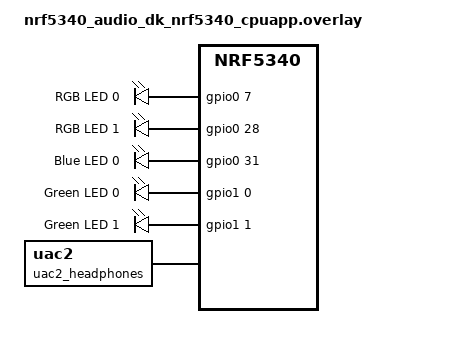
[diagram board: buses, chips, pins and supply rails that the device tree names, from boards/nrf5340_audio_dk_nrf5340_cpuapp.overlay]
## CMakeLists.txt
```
#
# Copyright (c) 2022 Nordic Semiconductor ASA
#
# SPDX-License-Identifier: LicenseRef-Nordic-5-Clause
#

cmake_minimum_required(VERSION 3.20.0)

# Flag which defines whether application is compiled as gateway/dongle or headset
add_compile_definitions(HEADSET=1)
add_compile_definitions(GATEWAY=2)

find_package(Zephyr REQUIRED HINTS $ENV{ZEPHYR_BASE})

# Test a configuration file option has been given
if(NOT DEFINED EXTRA_CONF_FILE)
  message(FATAL_ERROR "No configuration file specified, set -- -DEXTRA_CONF_FILE=<configuration file>")
endif()

project(nrf5340_audio)

string(TIMESTAMP NRF5340_AUDIO_CORE_APP_COMP_DATE "%a %b %d %H:%M:%S %Y")

# Generate fw_info_app.c
configure_file("${CMAKE_CURRENT_SOURCE_DIR}/src/utils/fw_info_app.c.in"
               "${CMAKE_BINARY_DIR}/fw_info_app.c"
               @ONLY)

# Target sources below are specific to the nRF5340 Audio DK HW
target_sources(app PRIVATE
  ${CMAKE_BINARY_DIR}/fw_info_app.c
)

if(CONFIG_BT_BAP_BROADCAST_SINK)
  add_subdirectory(broadcast_sink)
endif()

if(CONFIG_BT_BAP_BROADCAST_SOURCE)
  add_subdirectory(broadcast_source)
endif()

if(CONFIG_BT_BAP_UNICAST_CLIENT)
  add_subdirectory(unicast_client)
endif()

if(CONFIG_BT_BAP_UNICAST_SERVER)
  add_subdirectory(unicast_server)
endif()


# Include application events and configuration headers
zephyr_library_include_directories(
  include
  src/audio
  src/bluetooth
  src/drivers
  src/modules
  src/utils
  src/utils/macros
)

zephyr_library_include_directories(app PRIVATE ${ZEPHYR_NRF_MODULE_DIR}/boards/arm/nrf5340_audio_dk_nrf5340)

# Application sources
add_subdirectory(src/audio)
add_subdirectory(src/bluetooth)
add_subdirectory(src/drivers)
add_subdirectory(src/modules)
add_subdirectory(src/utils)

## Cirrus Logic
if(CONFIG_HW_CODEC_CIRRUS_LOGIC)
  if(ZEPHYR_CIRRUS_LOGIC_MODULE_DIR)
    add_subdirectory(${ZEPHYR_CIRRUS_LOGIC_MODULE_DIR} cirrus_logic_bin_dir)
  else()
    message(FATAL_ERROR "Cirrus Logic/sdk-mcu-drivers repository not found\n")
  endif()
endif()
```

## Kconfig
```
#
# Copyright (c) 2018 Nordic Semiconductor ASA
#
# SPDX-License-Identifier: LicenseRef-Nordic-5-Clause
#

menuconfig NRF5340_AUDIO
	 bool "nRF5340 Audio [EXPERIMENTAL]"
	 select EXPERIMENTAL

if NRF5340_AUDIO

config AUDIO_DEV
	int "Select which device type to compile for. 1=HEADSET or 2=GATEWAY"
	range 1 2
	default 1
	help
	  Setting this variable to 1 selects that the project is compiled
	  as a HEADSET (unicast server or broadcast sink) device.
	  Setting to 2 will compile as a GATEWAY (unicast client or broadcast source) device.

choice NRF5340_AUDIO_TRANSPORT_MODE
	prompt "Choose BIS or CIS for ISO transport"
	default TRANSPORT_CIS if WALKIE_TALKIE_DEMO
	default TRANSPORT_CIS

config TRANSPORT_BIS
	bool "BIS: Broadcast Isochronous Stream"

config TRANSPORT_CIS
	bool "CIS: Connected Isochronous Stream"

endchoice

#----------------------------------------------------------------------------#
rsource "Kconfig.defaults"
rsource "src/audio/Kconfig"
rsource "src/bluetooth/Kconfig"
rsource "src/drivers/Kconfig"
rsource "src/modules/Kconfig"
rsource "src/utils/Kconfig"

#----------------------------------------------------------------------------#
menu "Logging"

module = MAIN
module-str = main
source "subsys/logging/Kconfig.template.log_config"

config PRINT_STACK_USAGE_MS
	depends on THREAD_ANALYZER && INIT_STACKS
	int "Print stack usage every x milliseconds"
	default 5000

endmenu # Log levels

#----------------------------------------------------------------------------#
endif # NRF5340_AUDIO

source "Kconfig.zephyr"
```

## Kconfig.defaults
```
#
# Copyright (c) 2022 Nordic Semiconductor ASA
#
# SPDX-License-Identifier: LicenseRef-Nordic-5-Clause
#

config REBOOT
	default y

config MAIN_THREAD_PRIORITY
	default 10

config MAIN_STACK_SIZE
	default 2500 if SD_CARD_PLAYBACK
	default 2000

config SYSTEM_WORKQUEUE_STACK_SIZE
	default 2000

# As long as thread names are used, config must be set to "y"
config THREAD_NAME
	default y

# Workaround to not use fatal_error.c in NCS. Note that the system may still
# reset on error depending on the build configuraion
config RESET_ON_FATAL_ERROR
	default n

# Default Config for Debug and Release build
config BT
	default y

config ZBUS
	default y

config ZBUS_RUNTIME_OBSERVERS
	default y

config ZBUS_MSG_SUBSCRIBER
	default y

config SENSOR
	default y

config REGULATOR
	default y

config CONTIN_ARRAY
	default y

config NRFX_I2S
	default y

config PCM_MIX
	default y

config PSCM
	default y

# Enable NRFX_CLOCK for ACLK control
config NRFX_CLOCK
	default y

config I2C
	default y

# Audio codec LC3 related defines
# FPU_SHARING enables preservation of the hardware floating point registers
# across context switches to allow multiple threads to perform concurrent
# floating point operations.
config FPU
	default y

config FPU_SHARING
	default y

# Enable SDHC interface
config DISK_DRIVERS
	default y

config DISK_DRIVER_SDMMC
	default y

# Enable SPI interface
config SPI
	default y

# Enable ADC for board version readback
config ADC
	default y

# Allocate buffer on RAM for transferring chunck of data
# from Flash to SPI
config SPI_NRFX_RAM_BUFFER_SIZE
	default 8

# Config the file system
config FILE_SYSTEM
	default y

config FAT_FILESYSTEM_ELM
	default y

config FS_FATFS_LFN
	default y
choice FS_FATFS_LFN_MODE
	# Using stack for LFN work queue
	default FS_FATFS_LFN_MODE_STACK
endchoice

# exFAT enabled to support longer file names and higher transfer speed
config FS_FATFS_EXFAT
	default y
```

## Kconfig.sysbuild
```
#
# Copyright (c) 2024 Nordic Semiconductor
#
# SPDX-License-Identifier: LicenseRef-Nordic-5-Clause
#

config NRF_DEFAULT_IPC_RADIO
	default y

source "share/sysbuild/Kconfig"
```

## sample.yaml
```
sample:
  name: nRF5340 Audio application
  description: LE Audio and Auracast implementation example
tests:
  applications.nrf5340_audio.headset_unicast_release_unidir_usb:
    integration_platforms:
      - nrf5340_audio_dk/nrf5340/cpuapp
      - nrf5340dk/nrf5340/cpuapp
    platform_allow:
      - nrf5340_audio_dk/nrf5340/cpuapp
      - nrf5340dk/nrf5340/cpuapp
    sysbuild: true
    build_only: true
    tags:
      - ci_build
      - sysbuild
      - ci_applications_nrf5340_audio
    extra_args:
      - FILE_SUFFIX=release
      - EXTRA_CONF_FILE=unicast_server/overlay-unicast_server.conf
  applications.nrf5340_audio.gateway_unicast_release_bidir_usb:
    integration_platforms:
      - nrf5340_audio_dk/nrf5340/cpuapp
      - nrf5340dk/nrf5340/cpuapp
    platform_allow:
      - nrf5340_audio_dk/nrf5340/cpuapp
      - nrf5340dk/nrf5340/cpuapp
    sysbuild: true
    build_only: true
    tags:
      - ci_build
      - sysbuild
      - ci_applications_nrf5340_audio
    extra_args:
      - FILE_SUFFIX=release
      - CONFIG_STREAM_BIDIRECTIONAL=y
      - EXTRA_CONF_FILE=unicast_client/overlay-unicast_client.conf
  applications.nrf5340_audio.headset_broadcast_sink_release_usb:
    integration_platforms:
      - nrf5340_audio_dk/nrf5340/cpuapp
      - nrf5340dk/nrf5340/cpuapp
    platform_allow:
      - nrf5340_audio_dk/nrf5340/cpuapp
      - nrf5340dk/nrf5340/cpuapp
    sysbuild: true
    build_only: true
    tags:
      - ci_build
      - sysbuild
      - ci_applications_nrf5340_audio
    extra_args:
      - FILE_SUFFIX=release
      - EXTRA_CONF_FILE=broadcast_sink/overlay-broadcast_sink.conf
  applications.nrf5340_audio.gateway_broadcast_source_release_i2s:
    integration_platforms:
      - nrf5340_audio_dk/nrf5340/cpuapp
      - nrf5340dk/nrf5340/cpuapp
    platform_allow:
      - nrf5340_audio_dk/nrf5340/cpuapp
      - nrf5340dk/nrf5340/cpuapp
    sysbuild: true
    build_only: true
    tags:
      - ci_build
      - sysbuild
      - ci_applications_nrf5340_audio
    extra_args:
      - FILE_SUFFIX=release
      - CONFIG_AUDIO_SOURCE_I2S=y
      - EXTRA_CONF_FILE=broadcast_source/overlay-broadcast_source.conf
  applications.nrf5340_audio.headset_unicast_sd_card_release:
    integration_platforms:
      - nrf5340_audio_dk/nrf5340/cpuapp
    platform_allow:
      - nrf5340_audio_dk/nrf5340/cpuapp
    sysbuild: true
    build_only: true
    tags:
      - ci_build
      - sysbuild
      - ci_applications_nrf5340_audio
    extra_args:
      - FILE_SUFFIX=release
      - CONFIG_SD_CARD_PLAYBACK=y
      - EXTRA_CONF_FILE=unicast_server/overlay-unicast_server.conf
  applications.nrf5340_audio.headset_unicast_debug_bidir_usb:
    integration_platforms:
      - nrf5340_audio_dk/nrf5340/cpuapp
      - nrf5340dk/nrf5340/cpuapp
    platform_allow:
      - nrf5340_audio_dk/nrf5340/cpuapp
      - nrf5340dk/nrf5340/cpuapp
    sysbuild: true
    build_only: true
    tags:
      - ci_build
      - sysbuild
      - ci_applications_nrf5340_audio
    extra_args:
      - CONFIG_STREAM_BIDIRECTIONAL=y
      - EXTRA_CONF_FILE=unicast_server/overlay-unicast_server.conf
```

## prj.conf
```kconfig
#
# Copyright (c) 2022 Nordic Semiconductor ASA
#
# SPDX-License-Identifier: LicenseRef-Nordic-5-Clause
#

# nRF5340 Audio
CONFIG_NRF5340_AUDIO=y
CONFIG_SAMPLE_RATE_CONVERTER=y
CONFIG_SAMPLE_RATE_CONVERTER_FILTER_SIMPLE=y

# General
CONFIG_DEBUG=y
CONFIG_ASSERT=y
CONFIG_STACK_USAGE=y
CONFIG_THREAD_RUNTIME_STATS=y
CONFIG_STACK_SENTINEL=y
CONFIG_INIT_STACKS=y
CONFIG_BT=y
CONFIG_NET_BUF_POOL_USAGE=y
CONFIG_BT_RX_STACK_SIZE=2500
CONFIG_POLL=y

# Uart driver
CONFIG_SERIAL=y

# Logging
CONFIG_LOG=y
CONFIG_LOG_TAG_MAX_LEN=2
CONFIG_LOG_TAG_DEFAULT="--"
CONFIG_LOG_BACKEND_UART=y
CONFIG_LOG_BUFFER_SIZE=4096
CONFIG_LOG_RUNTIME_DEFAULT_LEVEL=4
CONFIG_BT_SECURITY_ERR_TO_STR=y

# Use this for debugging thread usage
#CONFIG_LOG_THREAD_ID_PREFIX=y

# Console related defines
CONFIG_CONSOLE=y
CONFIG_RTT_CONSOLE=y
CONFIG_UART_CONSOLE=y

# Shell related defines
CONFIG_SHELL=y
CONFIG_KERNEL_SHELL=y
CONFIG_USE_SEGGER_RTT=y
## Disable logs on RTT
CONFIG_SHELL_RTT_INIT_LOG_LEVEL_NONE=y
CONFIG_SHELL_BACKEND_RTT=y
CONFIG_SHELL_BACKEND_SERIAL=n
CONFIG_SHELL_VT100_COMMANDS=y
CONFIG_SHELL_VT100_COLORS=y
CONFIG_SHELL_STACK_SIZE=4096
CONFIG_SHELL_CMD_BUFF_SIZE=128
## Reduce shell memory usage
CONFIG_SHELL_WILDCARD=n
CONFIG_SHELL_HELP_ON_WRONG_ARGUMENT_COUNT=n
CONFIG_SHELL_STATS=n
CONFIG_SHELL_CMDS=n
CONFIG_SHELL_HISTORY=y

# Turn off default shell commands
CONFIG_I2C_SHELL=n
CONFIG_HWINFO_SHELL=n
CONFIG_CLOCK_CONTROL_NRF_SHELL=n
CONFIG_FLASH_SHELL=n
CONFIG_DEVICE_SHELL=n

# Suppress LOG_ERR messages from sd_check_card_type. Because SPI_SDHC has no card presence method,
# assume card is in slot. Thus error message is always shown if card is not inserted
CONFIG_SD_LOG_LEVEL_OFF=y

# Suppress LOG_INF messages from hci_core
CONFIG_BT_HCI_CORE_LOG_LEVEL_WRN=y

# BT related configs
CONFIG_BT_ISO_TX_BUF_COUNT=3
CONFIG_BT_BUF_ACL_TX_COUNT=3
CONFIG_BT_ATT_TX_COUNT=12

# Suppress the USB deprecation warning
CONFIG_DEPRECATION_TEST=y

# Log high CPU load using printk
CONFIG_CPU_LOAD=y
# Disable LOG_PRINTK to ensure printk messages are displayed even under high CPU load,
# by preventing them from being processed by the logging subsystem.
CONFIG_LOG_PRINTK=n
CONFIG_CPU_LOAD_LOG_PERIODICALLY=5000
CONFIG_CPU_LOAD_LOG_LEVEL_WRN=y
CONFIG_SPEED_OPTIMIZATIONS=y

# Enable link-time-optimizations to improve performance and reduce size
CONFIG_LTO=y
CONFIG_ISR_TABLES_LOCAL_DECLARATION=y
```

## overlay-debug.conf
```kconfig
#
# Copyright (c) 2022 Nordic Semiconductor ASA
#
# SPDX-License-Identifier: LicenseRef-Nordic-5-Clause
#

# General
CONFIG_DEBUG=y
CONFIG_DEBUG_INFO=y
CONFIG_ASSERT=y
CONFIG_STACK_USAGE=y
CONFIG_THREAD_RUNTIME_STATS=y
CONFIG_STACK_SENTINEL=y
CONFIG_INIT_STACKS=y

# Uart driver
CONFIG_SERIAL=y

# Logging
CONFIG_LOG=y
CONFIG_LOG_MODE_DEFERRED=y
CONFIG_LOG_BACKEND_UART=y
CONFIG_LOG_BACKEND_RTT=n
CONFIG_LOG_DEFAULT_LEVEL=4
CONFIG_NEWLIB_LIBC_FLOAT_PRINTF=y
CONFIG_LOG_TAG_MAX_LEN=2
CONFIG_LOG_TAG_DEFAULT="--"

# Console related defines
CONFIG_CONSOLE=y
CONFIG_RTT_CONSOLE=y
CONFIG_UART_CONSOLE=y

# Shell related defines
CONFIG_SHELL=y
CONFIG_KERNEL_SHELL=y
CONFIG_USE_SEGGER_RTT=y
## Disable logs on RTT
CONFIG_SHELL_RTT_INIT_LOG_LEVEL_NONE=y
CONFIG_SHELL_BACKEND_RTT=y
CONFIG_SHELL_BACKEND_SERIAL=n
CONFIG_SHELL_VT100_COLORS=y
CONFIG_SHELL_STACK_SIZE=1024
CONFIG_SHELL_CMD_BUFF_SIZE=128
## Reduce shell memory usage
CONFIG_SHELL_WILDCARD=n
CONFIG_SHELL_HELP_ON_WRONG_ARGUMENT_COUNT=n
CONFIG_SHELL_STATS=n
CONFIG_SHELL_CMDS=n
CONFIG_SHELL_HISTORY=y

# Turn off default shell commands
CONFIG_I2C_SHELL=n
CONFIG_HWINFO_SHELL=n
CONFIG_CLOCK_CONTROL_NRF_SHELL=n
CONFIG_FLASH_SHELL=n
CONFIG_DEVICE_SHELL=n

# Enable BT debug
CONFIG_BT_DEBUG_LOG=y
CONFIG_BT_LOG_LEVEL_WRN=y
```

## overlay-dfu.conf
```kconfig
#
# Copyright (c) 2022 Nordic Semiconductor ASA
#
# SPDX-License-Identifier: LicenseRef-Nordic-5-Clause
#

CONFIG_BOOTLOADER_MCUBOOT=y
CONFIG_MCUBOOT_IMAGE_VERSION="0.0.0+0"
CONFIG_NCS_INCLUDE_RPMSG_CHILD_IMAGE=y

# Increase system workqueue stack size to prevent stack overflows while handling
# SMP requests
CONFIG_SYSTEM_WORKQUEUE_STACK_SIZE=4096

# DFU
CONFIG_MCUMGR=y
CONFIG_MCUMGR_CMD_OS_MGMT=y
CONFIG_MCUMGR_CMD_STAT_MGMT=y
CONFIG_MCUMGR_CMD_IMG_MGMT=y
CONFIG_MCUMGR_BUF_SIZE=1024
CONFIG_THREAD_NAME=y

# DFU over BLE
CONFIG_MCUMGR_SMP_BT=y
CONFIG_MCUMGR_SMP_BT_AUTHEN=n
CONFIG_BT_L2CAP_TX_MTU=498
CONFIG_BT_BUF_ACL_TX_SIZE=502
CONFIG_BT_BUF_ACL_RX_SIZE=502
CONFIG_MCUMGR_BUF_COUNT=6

# Required by the `taskstat` command
CONFIG_THREAD_MONITOR=y
CONFIG_STATS=y
CONFIG_STATS_NAMES=y

# Reduce footprint for internal flash debug build
CONFIG_SIZE_OPTIMIZATIONS=y
```

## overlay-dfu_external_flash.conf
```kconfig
#
# Copyright (c) 2022 Nordic Semiconductor ASA
#
# SPDX-License-Identifier: LicenseRef-Nordic-5-Clause
#

CONFIG_BOOTLOADER_MCUBOOT=y
CONFIG_MCUBOOT_IMAGE_VERSION="0.0.0+0"
CONFIG_NCS_INCLUDE_RPMSG_CHILD_IMAGE=y

# Increase system workqueue stack size to prevent stack overflows while handling
# SMP requests
CONFIG_SYSTEM_WORKQUEUE_STACK_SIZE=4096

# DFU
CONFIG_MCUMGR=y
CONFIG_MCUMGR_CMD_OS_MGMT=y
CONFIG_MCUMGR_CMD_STAT_MGMT=y
CONFIG_MCUMGR_CMD_IMG_MGMT=y
CONFIG_MCUMGR_BUF_SIZE=1024
# MCUMGR Debug option
CONFIG_MCUMGR_LOG_LEVEL_DBG=y
CONFIG_MCUBOOT_UTIL_LOG_LEVEL_DBG=y
CONFIG_THREAD_NAME=y

# DFU over BLE
CONFIG_MCUMGR_SMP_BT=y
CONFIG_MCUMGR_SMP_BT_AUTHEN=n
CONFIG_BT_L2CAP_TX_MTU=498
CONFIG_BT_BUF_ACL_TX_SIZE=502
CONFIG_BT_BUF_ACL_RX_SIZE=502
CONFIG_MCUMGR_BUF_COUNT=6

# Required by the `taskstat` command
CONFIG_THREAD_MONITOR=y
CONFIG_STATS=y
CONFIG_STATS_NAMES=y

# Multi-Images DFU
CONFIG_UPDATEABLE_IMAGE_NUMBER=2
CONFIG_IMG_MANAGER=y
CONFIG_MCUBOOT_IMG_MANAGER=y
CONFIG_IMG_ERASE_PROGRESSIVELY=y
CONFIG_PM_EXTERNAL_FLASH_MCUBOOT_SECONDARY=y

# External Flash
CONFIG_SPI_NOR=y
CONFIG_SPI_NOR_CS_WAIT_DELAY=5
CONFIG_SPI_NOR_SFDP_DEVICETREE=y

# Change default flash erase size for flexible flash layout
CONFIG_SPI_NOR_FLASH_LAYOUT_PAGE_SIZE=4096

# FLASH nop device is enabled to prevent bus faults when mcumgr tries to access
# simulated partition with network core image data
CONFIG_FLASH_NOP_DEVICE=y

# Enable custom SMP request to erase settings partition
CONFIG_MCUMGR_GRP_ZEPHYR_BASIC=y
CONFIG_MCUMGR_GRP_BASIC_CMD_STORAGE_ERASE=y
```

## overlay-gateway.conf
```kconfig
#
# Copyright (c) 2022 Nordic Semiconductor ASA
#
# SPDX-License-Identifier: LicenseRef-Nordic-5-Clause
#

# Set as gateway device
CONFIG_AUDIO_DEV=2

# USB
CONFIG_USB_DEVICE_STACK=y
# Avoid redundant warnings for endpoint setting in USB stack
CONFIG_USB_DRIVER_LOG_LEVEL_ERR=y
CONFIG_USB_DEVICE_LOG_LEVEL_ERR=y
# Net buf options needed for USB stack
CONFIG_NET_BUF=y
# Size of 1ms of stereo audio in bytes (48kHz, 16 bit)
CONFIG_NET_BUF_USER_DATA_SIZE=192
# USB audio related configs
CONFIG_USB_DEVICE_AUDIO=y
## TODO: Nordic VID, change accordingly
CONFIG_USB_DEVICE_VID=0x1915
## TODO: Change for final product
CONFIG_USB_DEVICE_PID=0x530A
CONFIG_USB_DEVICE_PRODUCT="nRF5340 USB Audio"
CONFIG_USB_DEVICE_MANUFACTURER="Nordic Semiconductor AS"

# LC3
CONFIG_LC3_ENC_CHAN_MAX=2
CONFIG_LC3_DEC_CHAN_MAX=1

# ***** CIS *****
CONFIG_BT_AUDIO_UNICAST_CLIENT=y
CONFIG_BT_MAX_CONN=1
CONFIG_BT_ISO_MAX_CHAN=1
CONFIG_BT_MAX_PAIRED=1

# ***** BIS *****
#CONFIG_TRANSPORT_BIS=y
#CONFIG_BT_AUDIO_BROADCAST_SOURCE=y
#CONFIG_BT_DEVICE_NAME="Broadcast Audio Source"
```

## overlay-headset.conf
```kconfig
#
# Copyright (c) 2022 Nordic Semiconductor ASA
#
# SPDX-License-Identifier: LicenseRef-Nordic-5-Clause
#

# Set as headset device
CONFIG_AUDIO_DEV=1

# LC3
CONFIG_LC3_ENC_CHAN_MAX=1
CONFIG_LC3_DEC_CHAN_MAX=1

# ***** CIS *****
CONFIG_BT_PERIPHERAL=y
CONFIG_BT_GAP_PERIPHERAL_PREF_PARAMS=n
CONFIG_BT_MAX_CONN=1
CONFIG_BT_ISO_MAX_CHAN=1
CONFIG_BT_AUDIO_UNICAST_SERVER=y
CONFIG_BT_ASCS_ASE_SNK_COUNT=1
CONFIG_BT_ASCS_ASE_SRC_COUNT=0

# ***** BIS *****
#CONFIG_TRANSPORT_BIS=y
#CONFIG_BT_AUDIO_BROADCAST_SINK=y
#CONFIG_BT_DEVICE_NAME="Broadcast Audio Sink"
```

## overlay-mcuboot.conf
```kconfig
#
# Copyright (c) 2022 Nordic Semiconductor ASA
#
# SPDX-License-Identifier: LicenseRef-Nordic-5-Clause
#

CONFIG_SIZE_OPTIMIZATIONS=y
CONFIG_MAIN_STACK_SIZE=20480
CONFIG_MBEDTLS_CFG_FILE="mcuboot-mbedtls-cfg.h"
CONFIG_PCD_APP=y
CONFIG_PARTITION_MANAGER_ENABLED=y
CONFIG_BOARD_ENABLE_CPUNET=n

# Enable serial debug for MCUBOOT
CONFIG_SERIAL=y
CONFIG_CBPRINTF_NANO=y
CONFIG_CONSOLE=y
CONFIG_UART_CONSOLE=y
CONFIG_LOG=y
CONFIG_UART_NRFX=y

# TODO:Those kconfig are not required by mcuboot in order to reduce footprint of mcuboot
# Should be moved from board file to prj.conf
CONFIG_NFCT_PINS_AS_GPIOS=n
CONFIG_I2S=n
CONFIG_NRFX_I2S=n
CONFIG_NRFX_CLOCK=n
CONFIG_I2C=n
CONFIG_NRFX_TWIM1=n
CONFIG_NEWLIB_LIBC=n
CONFIG_FPU=n
CONFIG_FPU_SHARING=n
CONFIG_DISK_DRIVERS=n
CONFIG_DISK_DRIVER_SDMMC=n
CONFIG_SPI=n
CONFIG_ADC=n
CONFIG_FILE_SYSTEM=n
CONFIG_FAT_FILESYSTEM_ELM=n
CONFIG_FS_FATFS_LFN=n
CONFIG_FS_FATFS_LFN_MODE_STACK=n
CONFIG_FS_FATFS_EXFAT=n
CONFIG_BT=n
CONFIG_HW_CODEC_CIRRUS_LOGIC=n
```

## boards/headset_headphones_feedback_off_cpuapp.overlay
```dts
/*
 * Copyright (c) 2026 Nordic Semiconductor ASA
 *
 * SPDX-License-Identifier: LicenseRef-Nordic-5-Clause
 */

#include <dt-bindings/usb/audio.h>

/ {
	uac2_headset: usb_audio2 {
		compatible = "zephyr,uac2";
		status = "okay";
		full-speed;
		audio-function = <AUDIO_FUNCTION_HEADSET>;

		uac_aclk: aclk {
			compatible = "zephyr,uac2-clock-source";
			clock-type = "internal-programmable";
			frequency-control = "read-only";
			sampling-frequencies = <48000>;
			sof-synchronized;
		};

		out_terminal: out_terminal {
			compatible = "zephyr,uac2-input-terminal";
			clock-source = <&uac_aclk>;
			terminal-type = <USB_TERMINAL_STREAMING>;
			front-left;
			front-right;
		};

		headphones_output: headphones {
			compatible = "zephyr,uac2-output-terminal";
			data-source = <&out_terminal>;
			clock-source = <&uac_aclk>;
			terminal-type = <BIDIRECTIONAL_TERMINAL_HEADSET>;
			assoc-terminal = <&mic_input>;
		};

		in_terminal: in_terminal {
			compatible = "zephyr,uac2-output-terminal";
			data-source = <&mic_input>;
			clock-source = <&uac_aclk>;
			terminal-type = <USB_TERMINAL_STREAMING>;
		};

		mic_input: microphone {
			compatible = "zephyr,uac2-input-terminal";
			clock-source = <&uac_aclk>;
			terminal-type = <BIDIRECTIONAL_TERMINAL_HEADSET>;
			front-left;
			front-right;
		};

		as_iso_out: out_interface {
			compatible = "zephyr,uac2-audio-streaming";
			linked-terminal = <&out_terminal>;
			subslot-size = <2>;
			bit-resolution = <16>;
		};

		as_iso_in: in_interface {
			compatible = "zephyr,uac2-audio-streaming";
			linked-terminal = <&in_terminal>;
			subslot-size = <2>;
			bit-resolution = <16>;
		};
	};
};

/ {
	uac2_headphones: usb_audio2 {
		compatible = "zephyr,uac2";
		status = "okay";
		full-speed;
		audio-function = <AUDIO_FUNCTION_OTHER>;

		hp_uac_aclk: hp_aclk {
			compatible = "zephyr,uac2-clock-source";
			clock-type = "internal-programmable";
			frequency-control = "read-only";
			sampling-frequencies = <48000>;
			sof-synchronized;
		};

		hp_out_terminal: out_terminal {
			compatible = "zephyr,uac2-input-terminal";
			clock-source = <&hp_uac_aclk>;
			terminal-type = <USB_TERMINAL_STREAMING>;
			front-left;
			front-right;
		};

		hp_headphones_output: hp_headphones_output {
			compatible = "zephyr,uac2-output-terminal";
			data-source = <&hp_out_terminal>;
			clock-source = <&hp_uac_aclk>;
			terminal-type = <OUTPUT_TERMINAL_HEADPHONES>;
		};

		hp_as_iso_out: out_interface {
			compatible = "zephyr,uac2-audio-streaming";
			linked-terminal = <&hp_out_terminal>;
			subslot-size = <2>;
			bit-resolution = <16>;
		};
	};
};
```

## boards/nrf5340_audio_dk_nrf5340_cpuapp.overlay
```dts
/*
 * Copyright (c) 2025 Nordic Semiconductor ASA
 *
 * SPDX-License-Identifier: LicenseRef-Nordic-5-Clause
 */

#include <dt-bindings/led/led.h>
#include <dt-bindings/usb/audio.h>

/ {
	audioleds: audioleds {
		compatible = "gpio-leds";
		status = "okay";

		led_device_type: led_device_type {
			gpios = <&gpio0 7 GPIO_ACTIVE_HIGH>,
				<&gpio0 25 GPIO_ACTIVE_HIGH>,
				<&gpio0 26 GPIO_ACTIVE_HIGH>;
			label = "RGB LED 0";
		};

		rgb2: rgb-2 {
			gpios = <&gpio0 28 GPIO_ACTIVE_HIGH>,
				<&gpio0 29 GPIO_ACTIVE_HIGH>,
				<&gpio0 30 GPIO_ACTIVE_HIGH>;
			label = "RGB LED 1";
		};

		led_conn_status: led_conn_status {
			gpios = <&gpio0 31 GPIO_ACTIVE_HIGH>;
			label = "Blue LED 0";
		};

		led_sync_status: led_sync_status {
			gpios = <&gpio1 0 GPIO_ACTIVE_HIGH>;
			label = "Green LED 0";
		};

		led_app_status: led_app_status {
			gpios = <&gpio1 1 GPIO_ACTIVE_HIGH>;
			label = "Green LED 1";
		};
	};
};

/ {
	uac2_headphones: usb_audio2 {
		compatible = "zephyr,uac2";
		status = "okay";
		full-speed;
		audio-function = <AUDIO_FUNCTION_OTHER>;

		hp_uac_aclk: hp_aclk {
			compatible = "zephyr,uac2-clock-source";
			clock-type = "internal-programmable";
			frequency-control = "read-only";
			sampling-frequencies = <48000>;
		};

		hp_out_terminal: out_terminal {
			compatible = "zephyr,uac2-input-terminal";
			clock-source = <&hp_uac_aclk>;
			terminal-type = <USB_TERMINAL_STREAMING>;
			front-left;
			front-right;
		};

		hp_headphones_output: hp_headphones_output {
			compatible = "zephyr,uac2-output-terminal";
			data-source = <&hp_out_terminal>;
			clock-source = <&hp_uac_aclk>;
			terminal-type = <OUTPUT_TERMINAL_HEADPHONES>;
		};

		hp_as_iso_out: out_interface {
			compatible = "zephyr,uac2-audio-streaming";
			linked-terminal = <&hp_out_terminal>;
			subslot-size = <2>;
			bit-resolution = <16>;
		};
	};
};
```

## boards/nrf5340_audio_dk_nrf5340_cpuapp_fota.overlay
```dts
#include "nrf5340_audio_dk_nrf5340_cpuapp.overlay"

/ {
	chosen {
		nordic,pm-ext-flash = &mx25r64;
	};
};

&qspi {
	status = "disabled";
};

&spi4 {
	cs-gpios = <&gpio1 10 GPIO_ACTIVE_LOW>,
		   <&gpio0 11 GPIO_ACTIVE_LOW>,
		   <&gpio0 17 GPIO_ACTIVE_LOW>;
	status = "okay";

	mx25r64: mx25r6435f@0 {
		compatible = "jedec,spi-nor";
		reg = <0>;
		spi-max-frequency = <8000000>;

		jedec-id = [c2 28 17];
		sfdp-bfp = [e5 20 f1 ff ff ff ff 03 44 eb 08 6b 08 3b 04 bb
			    ee ff ff ff ff ff 00 ff ff ff 00 ff 0c 20 0f 52
			    10 d8 00 ff 23 72 f5 00 82 ed 04 cc 44 83 68 44
			    30 b0 30 b0 f7 c4 d5 5c 00 be 29 ff f0 d0 ff ff];
		size = <67108864>;
		has-dpd;
		t-enter-dpd = <10000>;
		t-exit-dpd = <5000>;
		dpd-wakeup-sequence = <30000 20 45000>;
	};
};

&gpio_fwd {
	uart {
		gpios = <&gpio1 0x9 0x0>, <&gpio1 0x8 0x0>, <&gpio1 0xb 0x0>;
	};
};
```

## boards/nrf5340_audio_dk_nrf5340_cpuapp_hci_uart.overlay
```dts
/ {
	chosen {
		zephyr,shell-uart = &uart0;
		zephyr,bt-uart = &uart2;
	};
};

&ipc0 {
	status = "disabled";
};

&mbox {
	status = "disabled";
};

&uart2 {
	current-speed = <1000000>;
	pinctrl-0 = < &uart2_default >;
	pinctrl-names = "default";
	status = "okay";
};

&pinctrl {
	uart2_default: uart2_default {
		group1 {
			psels = < 0x20 >, < 0x20021 >;
		};
		group2 {
			psels = < 0x1002D >, < 0x3002C >;
			bias-pull-up;
		};
	};
};
```

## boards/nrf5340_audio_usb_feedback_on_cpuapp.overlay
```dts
/*
 * Copyright (c) 2026 Nordic Semiconductor ASA
 *
 * SPDX-License-Identifier: LicenseRef-Nordic-5-Clause
 */

#include <dt-bindings/usb/audio.h>

/ {
	uac2_headphones: usb_audio2 {
		compatible = "zephyr,uac2";
		status = "okay";
		full-speed;
		audio-function = <AUDIO_FUNCTION_OTHER>;

		hp_uac_aclk: hp_aclk {
			compatible = "zephyr,uac2-clock-source";
			clock-type = "internal-programmable";
			frequency-control = "read-only";
			sampling-frequencies = <48000>;
		};

		hp_out_terminal: out_terminal {
			compatible = "zephyr,uac2-input-terminal";
			clock-source = <&hp_uac_aclk>;
			terminal-type = <USB_TERMINAL_STREAMING>;
			front-left;
			front-right;
		};

		hp_headphones_output: hp_headphones_output {
			compatible = "zephyr,uac2-output-terminal";
			data-source = <&hp_out_terminal>;
			clock-source = <&hp_uac_aclk>;
			terminal-type = <OUTPUT_TERMINAL_HEADPHONES>;
		};

		hp_as_iso_out: out_interface {
			compatible = "zephyr,uac2-audio-streaming";
			linked-terminal = <&hp_out_terminal>;
			subslot-size = <2>;
			bit-resolution = <16>;
		};
	};
};
```

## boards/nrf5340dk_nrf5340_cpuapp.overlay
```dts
/*
 * Copyright (c) 2024 Nordic Semiconductor ASA
 *
 * SPDX-License-Identifier: LicenseRef-Nordic-5-Clause
 */

#include <dt-bindings/usb/audio.h>

/ {
	audioleds: audioleds {
		compatible = "gpio-leds";
		status = "okay";

		led_conn_status: led_conn_status {
			gpios = <&gpio0 28 GPIO_ACTIVE_LOW>;
			label = "Green LED 0";
		};

		led_sync_status: led_sync_status {
			gpios = <&gpio0 29 GPIO_ACTIVE_LOW>;
			label = "Green LED 1";
		};

		led_app_status: led_app_status {
			gpios = <&gpio0 30 GPIO_ACTIVE_LOW>;
			label = "Green LED 2";
		};
	};

	ramdisk0: ramdisk0 {
		compatible = "zephyr,ram-disk";
		disk-name = "RAM";
		sector-size = <512>;
		sector-count = <80>;
	};
};

&pinctrl {
	i2s0_default: i2s0_default {
		group1 {
			psels = <NRF_PSEL(I2S_MCK, 1, 8)>;
			nordic,drive-mode = <NRF_DRIVE_H0H1>;
		};

		group2 {
			psels = <NRF_PSEL(I2S_SCK_M, 1, 7)>,
				<NRF_PSEL(I2S_LRCK_M, 1, 5)>,
				<NRF_PSEL(I2S_SDOUT, 1, 6)>,
				<NRF_PSEL(I2S_SDIN, 1, 9)>;
		};
	};

	i2s0_sleep: i2s0_sleep {
		group1 {
			psels = <NRF_PSEL(I2S_MCK, 1, 8)>,
				<NRF_PSEL(I2S_SCK_M, 1, 7)>,
				<NRF_PSEL(I2S_LRCK_M, 1, 5)>,
				<NRF_PSEL(I2S_SDOUT, 1, 6)>,
				<NRF_PSEL(I2S_SDIN, 1, 9)>;
			low-power-enable;
		};
	};
};

&i2s0 {
	compatible = "nordic,nrf-i2s";
	status = "okay";
	pinctrl-0 = <&i2s0_default>;
	pinctrl-1 = <&i2s0_sleep>;
	pinctrl-names = "default", "sleep";
};
```

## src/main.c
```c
/*
 * Copyright (c) 2018 Nordic Semiconductor ASA
 *
 * SPDX-License-Identifier: LicenseRef-Nordic-5-Clause
 */

#include <zephyr/kernel.h>
#include <zephyr/device.h>
#include <zephyr/bluetooth/bluetooth.h>
#include <zephyr/zbus/zbus.h>

#include "macros_common.h"
#include "nrf5340_audio_common.h"
#include "fw_info_app.h"
#include "led.h"
#include "button_handler.h"
#include "button_assignments.h"
#include "nrfx_clock.h"
#include "sd_card.h"
#include "bt_mgmt.h"
#include "board_version.h"
#include "channel_assignment.h"
#include "streamctrl.h"
#include "sd_card_playback.h"

#include <zephyr/logging/log.h>
LOG_MODULE_REGISTER(main, CONFIG_MAIN_LOG_LEVEL);

static struct board_version board_rev;

static int hfclock_config_and_start(void)
{
	int ret;

	/* Use this to turn on 128 MHz clock for cpu_app */
	ret = nrfx_clock_divider_set(NRF_CLOCK_DOMAIN_HFCLK, NRF_CLOCK_HFCLK_DIV_1);

	ret -= NRFX_ERROR_BASE_NUM;
	if (ret) {
		return ret;
	}

	nrfx_clock_hfclk_start();
	while (!nrfx_clock_hfclk_is_running()) {
	}

	return 0;
}

static int leds_set(void)
{
	int ret;

	/* Blink LED 3 to indicate that APP core is running */
	ret = led_blink(LED_APP_3_GREEN);
	if (ret) {
		return ret;
	}

#if (CONFIG_AUDIO_DEV == HEADSET)
	enum audio_channel channel;

	channel_assignment_get(&channel);

	if (channel == AUDIO_CH_L) {
		ret = led_on(LED_APP_RGB, LED_COLOR_BLUE);
	} else {
		ret = led_on(LED_APP_RGB, LED_COLOR_MAGENTA);
	}

	if (ret) {
		return ret;
	}
#elif (CONFIG_AUDIO_DEV == GATEWAY)
	ret = led_on(LED_APP_RGB, LED_COLOR_GREEN);
	if (ret) {
		return ret;
	}
#endif /* (CONFIG_AUDIO_DEV == HEADSET) */

	return 0;
}

static int channel_assign_check(void)
{
#if (CONFIG_AUDIO_DEV == HEADSET) && CONFIG_AUDIO_HEADSET_CHANNEL_RUNTIME
	int ret;
	bool pressed;

	ret = button_pressed(BUTTON_VOLUME_DOWN, &pressed);
	if (ret) {
		return ret;
	}

	if (pressed) {
		channel_assignment_set(AUDIO_CH_L);
		return 0;
	}

	ret = button_pressed(BUTTON_VOLUME_UP, &pressed);
	if (ret) {
		return ret;
	}

	if (pressed) {
		channel_assignment_set(AUDIO_CH_R);
		return 0;
	}
#endif

	return 0;
}

int main(void)
{
	int ret;

	LOG_DBG("nRF5340 APP core started");

	ret = hfclock_config_and_start();
	ERR_CHK(ret);

	ret = led_init();
	ERR_CHK(ret);

	ret = button_handler_init();
	ERR_CHK(ret);

	channel_assignment_init();

	ret = channel_assign_check();
	ERR_CHK(ret);

	ret = fw_info_app_print();
	ERR_CHK(ret);

	ret = board_version_valid_check();
	ERR_CHK(ret);

	ret = board_version_get(&board_rev);
	ERR_CHK(ret);

	if (board_rev.mask & BOARD_VERSION_VALID_MSK_SD_CARD) {
		ret = sd_card_init();
		if (ret != -ENODEV) {
			ERR_CHK(ret);
		}
	}

	ret = bt_mgmt_init();
	ERR_CHK(ret);

	ret = leds_set();
	ERR_CHK(ret);

	ret = streamctrl_start();
	ERR_CHK(ret);

	if (IS_ENABLED(CONFIG_SD_CARD_PLAYBACK)) {
		sd_card_playback_init();
	}
}
```

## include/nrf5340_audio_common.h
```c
/*
 * Copyright (c) 2023 Nordic Semiconductor ASA
 *
 * SPDX-License-Identifier: LicenseRef-Nordic-5-Clause
 */

#ifndef _NRF5340_AUDIO_COMMON_H_
#define _NRF5340_AUDIO_COMMON_H_

#include <zephyr/bluetooth/audio/audio.h>

#define ZBUS_READ_TIMEOUT_MS	K_MSEC(100)
#define ZBUS_ADD_OBS_TIMEOUT_MS K_MSEC(200)

/***** Messages for zbus ******/

enum button_action {
	BUTTON_PRESS = 1,
};

struct button_msg {
	uint32_t button_pin;
	enum button_action button_action;
};

enum le_audio_evt_type {
	LE_AUDIO_EVT_CONFIG_RECEIVED = 1,
	LE_AUDIO_EVT_PRES_DELAY_SET,
	LE_AUDIO_EVT_STREAMING,
	LE_AUDIO_EVT_NOT_STREAMING,
	LE_AUDIO_EVT_SYNC_LOST,
	LE_AUDIO_EVT_NO_VALID_CFG,
	LE_AUDIO_EVT_COORD_SET_DISCOVERED,
};

struct le_audio_msg {
	enum le_audio_evt_type event;
	struct bt_conn *conn;
	struct bt_le_per_adv_sync *pa_sync;
	enum bt_audio_dir dir;
	uint8_t set_size;
	uint8_t const *sirk;
};

/**
 * tx_sync_ts_us	The timestamp from get_tx_sync.
 * curr_ts_us		The current time. This must be in the controller frame of reference.
 */
struct sdu_ref_msg {
	uint32_t tx_sync_ts_us;
	uint32_t curr_ts_us;
	bool adjust;
};

enum bt_mgmt_evt_type {
	BT_MGMT_EXT_ADV_WITH_PA_READY = 1,
	BT_MGMT_CONNECTED,
	BT_MGMT_SECURITY_CHANGED,
	BT_MGMT_PA_SYNCED,
	BT_MGMT_PA_SYNC_LOST,
	BT_MGMT_DISCONNECTED,
};

struct bt_mgmt_msg {
	enum bt_mgmt_evt_type event;
	struct bt_conn *conn;
	uint8_t index;
	struct bt_le_ext_adv *ext_adv;
	struct bt_le_per_adv_sync *pa_sync;
	uint32_t broadcast_id;
	uint8_t pa_sync_term_reason;
};

enum volume_evt_type {
	VOLUME_UP = 1,
	VOLUME_DOWN,
	VOLUME_SET,
	VOLUME_MUTE,
	VOLUME_UNMUTE,
};

struct volume_msg {
	enum volume_evt_type event;
	uint8_t volume;
};

enum content_control_evt_type {
	MEDIA_START = 1,
	MEDIA_STOP,
};

struct content_control_msg {
	enum content_control_evt_type event;
};

/**
 * @brief	Initialize the software modules that are common for all the audio samples.
 *
 * @return	0 if successful, error otherwise.
 */
int nrf5340_audio_common_init(void);

#endif /* _NRF5340_AUDIO_COMMON_H_ */
```

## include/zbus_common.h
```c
/*
 * Copyright (c) 2023 Nordic Semiconductor ASA
 *
 * SPDX-License-Identifier: LicenseRef-Nordic-5-Clause
 */

#ifndef _ZBUS_COMMON_H_
#define _ZBUS_COMMON_H_

#include <zephyr/bluetooth/audio/audio.h>

#include "le_audio.h"

#define ZBUS_READ_TIMEOUT_MS	K_MSEC(100)
#define ZBUS_ADD_OBS_TIMEOUT_MS K_MSEC(200)

/***** Messages for zbus ******/

enum button_action {
	BUTTON_PRESS = 1,
};

struct button_msg {
	uint32_t button_pin;
	enum button_action button_action;
};

enum le_audio_evt_type {
	LE_AUDIO_EVT_CONFIG_RECEIVED = 1,
	LE_AUDIO_EVT_PRES_DELAY_SET,
	LE_AUDIO_EVT_STREAMING,
	LE_AUDIO_EVT_NOT_STREAMING,
	LE_AUDIO_EVT_STREAM_SENT,
	LE_AUDIO_EVT_SYNC_LOST,
	LE_AUDIO_EVT_NO_VALID_CFG,
	LE_AUDIO_EVT_COORD_SET_DISCOVERED,
};

struct le_audio_msg {
	enum le_audio_evt_type event;
	struct bt_conn *conn;
	struct bt_le_per_adv_sync *pa_sync;
	enum bt_audio_dir dir;
	uint8_t set_size;
	uint8_t const *sirk;
	struct stream_index idx;
	struct bt_bap_stream *stream;
};

/**
 * tx_sync_ts_us	The timestamp from get_tx_sync.
 * curr_ts_us		The current time. This must be in the controller frame of reference.
 */
struct sdu_ref_msg {
	uint32_t tx_sync_ts_us;
	uint32_t curr_ts_us;
	bool adjust;
};

enum bt_mgmt_evt_type {
	BT_MGMT_EXT_ADV_WITH_PA_READY = 1,
	BT_MGMT_CONNECTED,
	BT_MGMT_SECURITY_CHANGED,
	BT_MGMT_IDENTITY_RESOLVED,
	BT_MGMT_PA_SYNCED,
	BT_MGMT_PA_SYNC_LOST,
	BT_MGMT_DISCONNECTED,
	BT_MGMT_BROADCAST_SINK_DISABLE,
	BT_MGMT_BROADCAST_CODE_RECEIVED,
};

struct bt_mgmt_msg {
	enum bt_mgmt_evt_type event;
	struct bt_conn *conn;
	uint8_t index;
	struct bt_le_ext_adv *ext_adv;
	struct bt_le_per_adv_sync *pa_sync;
	uint32_t broadcast_id;
	uint8_t pa_sync_term_reason;
	bt_addr_le_t addr;
	bt_addr_le_t identity;
};

enum volume_evt_type {
	VOLUME_UP = 1,
	VOLUME_DOWN,
	VOLUME_SET,
	VOLUME_MUTE,
	VOLUME_UNMUTE,
};

struct volume_msg {
	enum volume_evt_type event;
	uint8_t volume;
};

enum content_control_evt_type {
	MEDIA_START = 1,
	MEDIA_STOP,
};

struct content_control_msg {
	enum content_control_evt_type event;
};

#endif /* _ZBUS_COMMON_H_ */
```

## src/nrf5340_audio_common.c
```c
/*
 * Copyright (c) 2023 Nordic Semiconductor ASA
 *
 * SPDX-License-Identifier: LicenseRef-Nordic-5-Clause
 */

#include <nrfx_clock.h>

#include "audio_system.h"
#include "bt_mgmt.h"
#include "channel_assignment.h"
#include "fw_info_app.h"
#include "nrf5340_audio_common.h"

#include <zephyr/logging/log.h>
LOG_MODULE_REGISTER(nrf5340_audio_common, CONFIG_NRF5340_AUDIO_COMMON_LOG_LEVEL);

int nrf5340_audio_common_init(void)
{
	int ret;

	/* Use this to turn on 128 MHz clock for cpu_app */
	ret = nrfx_clock_divider_set(NRF_CLOCK_DOMAIN_HFCLK, NRF_CLOCK_HFCLK_DIV_1);
	ret -= NRFX_ERROR_BASE_NUM;
	if (ret) {
		return ret;
	}

	ret = fw_info_app_print();
	if (ret) {
		LOG_ERR("Failed to print application FW info");
		return ret;
	}

	ret = bt_mgmt_init();
	if (ret) {
		LOG_ERR("Failed to initialize bt_mgmt");
		return ret;
	}

	ret = audio_system_init();
	if (ret) {
		LOG_ERR("Failed to initialize the audio system");
		return ret;
	}

	return 0;
}
```
